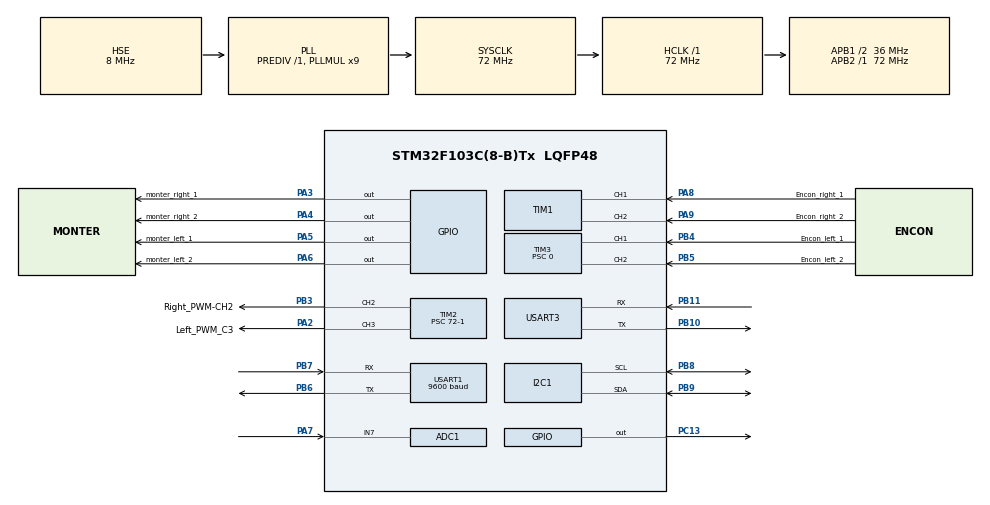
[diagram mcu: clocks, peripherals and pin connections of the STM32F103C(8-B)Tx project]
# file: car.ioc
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ADC1.Channel-3\#ChannelRegularConversion=ADC_CHANNEL_7
ADC1.ContinuousConvMode=ENABLE
ADC1.NbrOfConversion=1
ADC1.NbrOfConversionFlag=1
ADC1.Rank-3\#ChannelRegularConversion=1
ADC1.SamplingTime-3\#ChannelRegularConversion=ADC_SAMPLETIME_1CYCLE_5
ADC1.master=1
Dma.Request0=USART1_RX
Dma.Request1=USART1_TX
Dma.Request2=USART3_TX
Dma.Request3=USART3_RX
Dma.USART1_RX.0.Direction=DMA_PERIPH_TO_MEMORY
Dma.USART1_RX.0.Instance=DMA1_Channel5
Dma.USART1_RX.0.MemDataAlignment=DMA_MDATAALIGN_BYTE
Dma.USART1_RX.0.MemInc=DMA_MINC_ENABLE
Dma.USART1_RX.0.Mode=DMA_NORMAL
Dma.USART1_RX.0.PeriphDataAlignment=DMA_PDATAALIGN_BYTE
Dma.USART1_RX.0.PeriphInc=DMA_PINC_DISABLE
Dma.USART1_RX.0.Priority=DMA_PRIORITY_LOW
Dma.USART1_TX.1.Direction=DMA_MEMORY_TO_PERIPH
Dma.USART1_TX.1.Instance=DMA1_Channel4
Dma.USART1_TX.1.MemDataAlignment=DMA_MDATAALIGN_BYTE
Dma.USART1_TX.1.MemInc=DMA_MINC_ENABLE
Dma.USART1_TX.1.Mode=DMA_NORMAL
Dma.USART1_TX.1.PeriphDataAlignment=DMA_PDATAALIGN_BYTE
Dma.USART1_TX.1.PeriphInc=DMA_PINC_DISABLE
Dma.USART1_TX.1.Priority=DMA_PRIORITY_LOW
Dma.USART3_RX.3.Direction=DMA_PERIPH_TO_MEMORY
Dma.USART3_RX.3.Instance=DMA1_Channel3
Dma.USART3_RX.3.MemDataAlignment=DMA_MDATAALIGN_BYTE
Dma.USART3_RX.3.MemInc=DMA_MINC_ENABLE
Dma.USART3_RX.3.Mode=DMA_NORMAL
Dma.USART3_RX.3.PeriphDataAlignment=DMA_PDATAALIGN_BYTE
Dma.USART3_RX.3.PeriphInc=DMA_PINC_DISABLE
Dma.USART3_RX.3.Priority=DMA_PRIORITY_LOW
Dma.USART3_TX.2.Direction=DMA_MEMORY_TO_PERIPH
Dma.USART3_TX.2.Instance=DMA1_Channel2
Dma.USART3_TX.2.MemDataAlignment=DMA_MDATAALIGN_BYTE
Dma.USART3_TX.2.MemInc=DMA_MINC_ENABLE
Dma.USART3_TX.2.Mode=DMA_NORMAL
Dma.USART3_TX.2.PeriphDataAlignment=DMA_PDATAALIGN_BYTE
Dma.USART3_TX.2.PeriphInc=DMA_PINC_DISABLE
Dma.USART3_TX.2.Priority=DMA_PRIORITY_LOW
Mcu.Family=STM32F1
Mcu.Name=STM32F103C(8-B)Tx
Mcu.Package=LQFP48
NVIC.ADC1_2_IRQn=true\:0\:0\:false\:false\:true\:true\:true\:true
NVIC.DMA1_Channel2_IRQn=true\:0\:0\:false\:false\:true\:false\:true\:true
NVIC.DMA1_Channel3_IRQn=true\:0\:0\:false\:false\:true\:false\:true\:true
NVIC.DMA1_Channel4_IRQn=true\:0\:0\:false\:false\:true\:false\:true\:true
NVIC.DMA1_Channel5_IRQn=true\:0\:0\:false\:false\:true\:false\:true\:true
NVIC.PriorityGroup=NVIC_PRIORITYGROUP_4
NVIC.TIM2_IRQn=true\:15\:0\:false\:false\:true\:true\:true\:true
NVIC.TIM3_IRQn=true\:0\:0\:false\:false\:true\:true\:true\:true
NVIC.TIM4_IRQn=true\:0\:0\:false\:false\:true\:true\:true\:true
NVIC.USART1_IRQn=true\:0\:0\:false\:false\:true\:true\:true\:true
NVIC.USART3_IRQn=true\:0\:0\:false\:false\:true\:true\:true\:true
PA13.Mode=Serial_Wire
PA13.Signal=SYS_JTMS-SWDIO
PA14.Mode=Serial_Wire
PA14.Signal=SYS_JTCK-SWCLK
PA2.GPIO_Label=Left_PWM_C3
PA2.Signal=S_TIM2_CH3
PA3.GPIO_Label=monter_right_1
PA3.GPIO_Speed=GPIO_SPEED_FREQ_HIGH
PA3.Signal=GPIO_Output
PA4.GPIO_Label=monter_right_2
PA4.GPIO_Speed=GPIO_SPEED_FREQ_HIGH
PA4.Signal=GPIO_Output
PA5.GPIO_Label=monter_left_1
PA5.GPIO_Speed=GPIO_SPEED_FREQ_HIGH
PA5.Signal=GPIO_Output
PA6.GPIO_Label=monter_left_2
PA6.GPIO_Speed=GPIO_SPEED_FREQ_HIGH
PA6.Signal=GPIO_Output
PA7.Signal=ADCx_IN7
PA8.GPIO_Label=Encon_right_1
PA8.Signal=S_TIM1_CH1
PA9.GPIO_Label=Encon_right_2
PA9.Signal=S_TIM1_CH2
PB10.Mode=Asynchronous
PB10.Signal=USART3_TX
PB11.Mode=Asynchronous
PB11.Signal=USART3_RX
PB3.GPIO_Label=Right_PWM-CH2
PB3.Signal=S_TIM2_CH2
PB4.GPIO_Label=Encon_left_1
PB4.Signal=S_TIM3_CH1
PB5.GPIO_Label=Encon_left_2
PB5.Signal=S_TIM3_CH2
PB6.Mode=Asynchronous
PB6.Signal=USART1_TX
PB7.Mode=Asynchronous
PB7.Signal=USART1_RX
PB8.Mode=I2C
PB8.Signal=I2C1_SCL
PB9.Mode=I2C
PB9.Signal=I2C1_SDA
PC13-TAMPER-RTC.Signal=GPIO_Output
PD0-OSC_IN.Mode=HSE-External-Oscillator
PD0-OSC_IN.Signal=RCC_OSC_IN
PD1-OSC_OUT.Mode=HSE-External-Oscillator
PD1-OSC_OUT.Signal=RCC_OSC_OUT
ProjectManager.HeapSize=0x200
ProjectManager.StackSize=0x400
ProjectManager.TargetToolchain=Makefile
RCC.ADCPresc=RCC_ADCPCLK2_DIV6
RCC.AHBFreq_Value=72000000
RCC.APB1CLKDivider=RCC_HCLK_DIV2
RCC.APB1Freq_Value=36000000
RCC.APB1TimFreq_Value=72000000
RCC.APB2Freq_Value=72000000
RCC.APB2TimFreq_Value=72000000
RCC.HCLKFreq_Value=72000000
RCC.PLLMUL=RCC_PLL_MUL9
RCC.PLLSourceVirtual=RCC_PLLSOURCE_HSE
RCC.SYSCLKFreq_VALUE=72000000
RCC.SYSCLKSource=RCC_SYSCLKSOURCE_PLLCLK
RCC.USBFreq_Value=72000000
SH.ADCx_IN7.0=ADC1_IN7,IN7
SH.S_TIM1_CH1.0=TIM1_CH1,Encoder_Interface
SH.S_TIM1_CH2.0=TIM1_CH2,Encoder_Interface
SH.S_TIM2_CH2.0=TIM2_CH2,PWM Generation2 CH2
SH.S_TIM2_CH3.0=TIM2_CH3,PWM Generation3 CH3
SH.S_TIM3_CH1.0=TIM3_CH1,Encoder_Interface
SH.S_TIM3_CH2.0=TIM3_CH2,Encoder_Interface
TIM1.EncoderMode=TIM_ENCODERMODE_TI12
TIM2.AutoReloadPreload=TIM_AUTORELOAD_PRELOAD_ENABLE
TIM2.Channel-PWM\ Generation2\ CH2=TIM_CHANNEL_2
TIM2.Channel-PWM\ Generation3\ CH3=TIM_CHANNEL_3
TIM2.Period=1000-1
TIM2.Prescaler=72-1
TIM3.AutoReloadPreload=TIM_AUTORELOAD_PRELOAD_ENABLE
TIM3.EncoderMode=TIM_ENCODERMODE_TI12
TIM3.Period=65535-1
TIM3.Prescaler=0
TIM4.AutoReloadPreload=TIM_AUTORELOAD_PRELOAD_ENABLE
TIM4.Period=1000
TIM4.Prescaler=72-1
USART1.BaudRate=9600
USART1.VirtualMode=VM_ASYNC
USART3.VirtualMode=VM_ASYNC
VP_TIM4_VS_ClockSourceINT.Mode=Internal
board=custom

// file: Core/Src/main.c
/* USER CODE BEGIN Header */
/**
  ******************************************************************************
  * @file           : main.c
  * @brief          : Main program body
  ******************************************************************************
  * @attention
  *
  * Copyright (c) 2025 STMicroelectronics.
  * All rights reserved.
  *
  * This software is licensed under terms that can be found in the LICENSE file
  * in the root directory of this software component.
  * If no LICENSE file comes with this software, it is provided AS-IS.
  *
  ******************************************************************************
  */
/* USER CODE END Header */
#include "main.h"
#include "adc.h"
#include "dma.h"
#include "i2c.h"
#include "tim.h"
#include "usart.h"
#include "gpio.h"

/* USER CODE BEGIN Includes */
#include "servo_pwm.h"
#include "string.h"
#include "bsp_enconder.h"
/* USER CODE END Includes */

/* USER CODE BEGIN PV */
int16_t num_left = 0;
int16_t num_right = 0;
int16_t left_in;
int16_t right_in;
uint8_t tx_data[] = {0x03,0x02,0x01};
uint16_t AD_Value;
uint16_t oled_time;
uint8_t oled_buf[100];
uint8_t length;
/* USER CODE END PV */

void SystemClock_Config(void);

int main(void)
{

  /* MCU Configuration--------------------------------------------------------*/

  /* Reset of all peripherals, Initializes the Flash interface and the Systick. */
  HAL_Init();

  /* Configure the system clock */
  SystemClock_Config();

  /* Initialize all configured peripherals */
  MX_GPIO_Init();
  MX_DMA_Init();
  MX_TIM3_Init();
  MX_TIM2_Init();
  MX_USART1_UART_Init();
  MX_I2C1_Init();
  MX_TIM4_Init();
  MX_ADC1_Init();
  MX_TIM1_Init();
  MX_USART3_UART_Init();
  /* USER CODE BEGIN 2 */
  HAL_TIM_PWM_Start(&htim2,TIM_CHANNEL_3);
  HAL_TIM_PWM_Start(&htim2,TIM_CHANNEL_2);
  HAL_TIM_Base_Start_IT(&htim2);
  HAL_TIM_Base_Start_IT(&htim4);
  bsp_init();
  Enconder_init();
  OLED_GPIO_Init();
  OLED_Init();
  OLED_ALL_Clear();
  Speed_pid_init();
  location_pid_init();
  HAL_ADCEx_Calibration_Start(&hadc1);
  //car_set_right_pwm(800,TIM_CHANNEL_2);
  send_control_data(0,0,1);
  //__HAL_TIM_SetCompare(&htim2,TIM_CHANNEL_2,0);
  /* USER CODE END 2 */

  /* Infinite loop */
  /* USER CODE BEGIN WHILE */
  while (1)
  {
    if (oled_time>= 40){
      memcpy(oled_buf,commond_buffer,length);/* code */
      //OLED_ShowString(1,0,oled_buf,16,0);
      oled_time = 0;
    }
    Trace_Data_analyse(commond_buffer);
    for(uint8_t i = 0 ; i < 7 ; i ++){
      OLED_ShowNum(8*i,4,trace_data[i],1,16,0);
    }
    speed_right_pid.Target= 0;
    //OLED_ShowNum(0,4,speed_right_pid.Output,5,16,0);
    //OLED_ShowNum(0,0,length,4,16,0);
    //Commond_Write(rx_buf,recive_len);
    // length = Commond_GetCommond_led();
    // commond_buffer[length] = '\r';
    // commond_buffer[length+1] = '\n';
    // if(length != 0){
    //   HAL_UART_Transmit_DMA(&huart3 , commond_buffer, length+2);//发送接收到的数据
    // }
    //send_control_data(0,0,1);
    // OLED_ShowNum(0,0,num,3,16,0);
    // OLED_ShowNum(0,2,speed_pid.Output,5,16,0); //显示输出的占空比
    // OLED_ShowNum(0,4,speed_pid.Target,5,16,0);
    OLED_ShowNum(0,2,num_right,3,16,0);
    // OLED_ShowNum(64,0,speed_right_pid.Target,3,16,0);
    // OLED_ShowNum(0,2,location_pid.Output,5,16,0); //显示输出的占空比
    // OLED_ShowNum(64,2,right_in,5,16,0); //显示输出的占空比
    // OLED_ShowNum(0,4,location_pid.Target,5,16,0);
    //OLED_ShowString(0,0,rx_buf,16,0);
    AD_Value = ADC_Read(hadc1);
    OLED_ShowNum(0,0,AD_Value,5,16,0);
    //OLED_ShowNum(0,4,location_pid.Acture,5,16,0);
    //OLED_ShowNum(0,6,location_pid.Target,5,16,0);
    //OLED_ShowNum(64,6,location_pid.Output,5,16,0);
    speed_left_pid.Target = AD_Value/20 -  100;
    //location_pid.Target = AD_Value;
    //location_pid.Target = 500;
    //OLED_ShowNum(64,4,location_pid.Acture,5,16,0);
    if(speed_left_pid.Output > 500){
      speed_left_pid.Output = 500;
    }
    //send_control_data(0,0,1);
    //bsp_uart3_send("wujingfei");
    //bsp_blue_send("wujinghfe");
    //send_control_data(0,0,1);
    //HAL_UART_Transmit_DMA(&huart3 , "wu" , 5 );//发送接收到的数据
    //bsp_uart3_send("wujingfe");
    bsp_Serial_printf("%d,%d,%d,%d\r\n",speed_left_pid.Output,speed_left_pid.Acture,speed_left_pid.Target,Error_left_int);
    /* USER CODE END WHILE */

  }
}

void SystemClock_Config(void)
{
  RCC_OscInitTypeDef RCC_OscInitStruct = {0};
  RCC_ClkInitTypeDef RCC_ClkInitStruct = {0};
  RCC_PeriphCLKInitTypeDef PeriphClkInit = {0};

  /** Initializes the RCC Oscillators according to the specified parameters
  * in the RCC_OscInitTypeDef structure.
  */
  RCC_OscInitStruct.OscillatorType = RCC_OSCILLATORTYPE_HSE;
  RCC_OscInitStruct.HSEState = RCC_HSE_ON;
  RCC_OscInitStruct.HSEPredivValue = RCC_HSE_PREDIV_DIV1;
  RCC_OscInitStruct.HSIState = RCC_HSI_ON;
  RCC_OscInitStruct.PLL.PLLState = RCC_PLL_ON;
  RCC_OscInitStruct.PLL.PLLSource = RCC_PLLSOURCE_HSE;
  RCC_OscInitStruct.PLL.PLLMUL = RCC_PLL_MUL9;
  if (HAL_RCC_OscConfig(&RCC_OscInitStruct) != HAL_OK)
  {
    Error_Handler();
  }

  /** Initializes the CPU, AHB and APB buses clocks
  */
  RCC_ClkInitStruct.ClockType = RCC_CLOCKTYPE_HCLK|RCC_CLOCKTYPE_SYSCLK
                              |RCC_CLOCKTYPE_PCLK1|RCC_CLOCKTYPE_PCLK2;
  RCC_ClkInitStruct.SYSCLKSource = RCC_SYSCLKSOURCE_PLLCLK;
  RCC_ClkInitStruct.AHBCLKDivider = RCC_SYSCLK_DIV1;
  RCC_ClkInitStruct.APB1CLKDivider = RCC_HCLK_DIV2;
  RCC_ClkInitStruct.APB2CLKDivider = RCC_HCLK_DIV1;

  if (HAL_RCC_ClockConfig(&RCC_ClkInitStruct, FLASH_LATENCY_2) != HAL_OK)
  {
    Error_Handler();
  }
  PeriphClkInit.PeriphClockSelection = RCC_PERIPHCLK_ADC;
  PeriphClkInit.AdcClockSelection = RCC_ADCPCLK2_DIV6;
  if (HAL_RCCEx_PeriphCLKConfig(&PeriphClkInit) != HAL_OK)
  {
    Error_Handler();
  }
}

/* USER CODE BEGIN 4 */
// void HAL_UART_RxCpltCallback(UART_HandleTypeDef *huart) {
//     //if(huart->Instance == USART1){
//       memcpy(tx_buf,rx_buf,1);
//       HAL_UART_Transmit_DMA(&huart1, tx_buf, 100);
//       HAL_UART_Receive_DMA(&huart1,rx_buf,1);
//     //}
//     // 不立即开启接收
// }

// void HAL_UART_TxCpltCallback(UART_HandleTypeDef *huart) {
//     HAL_UART_Receive_IT(&huart1, rx_buf, 1);  // 等发送完才开始接收
// }

void HAL_TIM_PeriodElapsedCallback(TIM_HandleTypeDef *htim){
  static uint16_t count;
  static uint16_t count_uart;
  if(htim==&htim2){
  }
  if(htim==&htim4){
    oled_time++ ;
    count_uart ++;
    count ++;
    if(count_uart >= 40){
      count_uart = 0;
      //bsp_Serial_printf("%d/r/n",speed_pid.Output);
    }
    if(count >= 35){
      count = 0 ;

      /*走过的位置 */
      right_in += num_right;
      left_in += num_left;

      /* 获取速度 */
      num_left = __HAL_TIM_GetCounter(&htim3); //左轮的编码器输出
      num_right = __HAL_TIM_GetCounter(&htim1);//右轮的编码器输出

      /* 左轮速度环控制 */
      if(speed_left_pid.Target >= 5 || speed_left_pid.Target <= -5){
        Speed_Pid(num_left,&speed_left_pid,TIM_CHANNEL_3,LEFT);//左轮PWM
      }else {
        __HAL_TIM_SetCompare(&htim2,TIM_CHANNEL_3,0);
      }

      /* 右轮速度环控制*/
      if(speed_right_pid.Target >= 5 || speed_right_pid.Target <= -5){
        Speed_Pid(num_right,&speed_right_pid,TIM_CHANNEL_2,RIGHT);//右轮PWM
      }else {
        __HAL_TIM_SetCompare(&htim2,TIM_CHANNEL_2,0);
      }
      //Speed_Pid(num)
      //if((location_pid.Acture >= location_pid.Target + 30)||(location_pid.Acture <= location_pid.Target - 30)){
        //location_pid_control(num_left,&location_pid);
        //speed_left_pid.Target = location_pid.Output;
        //speed_right_pid.Target = location_pid.Output;///location_pid.Output;
      //}else {
        //speed_left_pid.Target = 0;
        //speed_right_pid.Target = 0;
      //}
      __HAL_TIM_SetCounter(&htim1,0);
      __HAL_TIM_SetCounter(&htim3,0);
    }
  }
}

/* USER CODE END 4 */

void Error_Handler(void)
{
  /* USER CODE BEGIN Error_Handler_Debug */
  /* User can add his own implementation to report the HAL error return state */
  __disable_irq();
  while (1)
  {
    bsp_blue_send_number(12);
  }
  /* USER CODE END Error_Handler_Debug */
}
